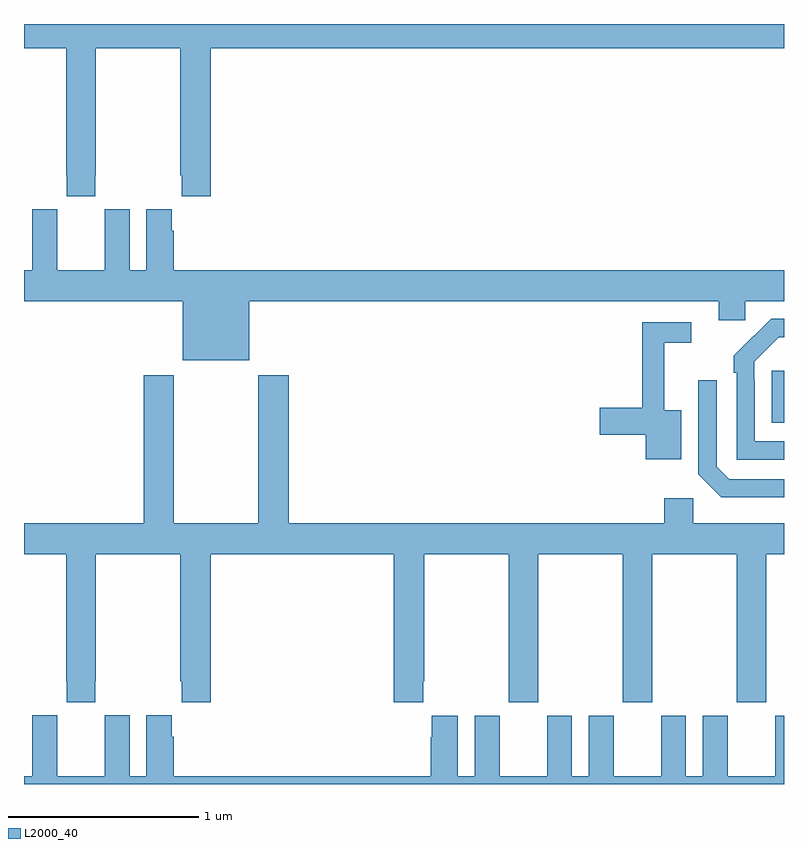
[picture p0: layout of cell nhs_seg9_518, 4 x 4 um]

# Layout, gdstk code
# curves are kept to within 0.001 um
import gdstk
lib = gdstk.Library(unit=1e-6, precision=1e-09)
def R(c, l, rs):  # rectangles x0, y0, x1, y1
    for r in rs: c.add(gdstk.rectangle(r[:2], r[2:], *l))
def P(c, l, *ps):  # polygons
    for p in ps: c.add(gdstk.Polygon(p, *l))
L2000_40 = (2000, 40)

nhs_seg9_518 = lib.new_cell('nhs_seg9_518')
R(nhs_seg9_518, L2000_40, [(138.935,1242.401,139,1242.676)])
P(nhs_seg9_518, L2000_40, [(139,1244.5),(135,1244.5),(135,1244.372),(135.223,1244.372),(135.223,1243.705),(135.225,1243.705),(135.225,1243.593),(135.375,1243.593),(135.375,1243.705),(135.378,1243.705),(135.378,1244.372),(135.823,1244.372),(135.823,1243.705),(135.829,1243.705),(135.829,1243.593),(135.983,1243.593),(135.983,1244.372),(139,1244.372)],
  [(136.186,1243.04),(138.656,1243.04),(138.656,1242.942),(138.795,1242.942),(138.795,1243.04),(139,1243.04),(139,1243.204),(135.788,1243.204),(135.788,1243.412),(135.778,1243.412),(135.778,1243.525),(135.644,1243.525),(135.644,1243.204),(135.556,1243.204),(135.556,1243.525),(135.426,1243.525),(135.426,1243.412),(135.425,1243.412),(135.425,1243.204),(135.175,1243.204),(135.175,1243.412),(135.174,1243.412),(135.174,1243.525),(135.044,1243.525),(135.044,1243.204),(135,1243.204),(135,1243.04),(135.836,1243.04),(135.836,1242.731),(136.186,1242.731)],
  [(139,1242.303),(138.846,1242.303),(138.846,1242.623),(138.843,1242.623),(138.843,1242.723),(138.972,1242.852),(139,1242.852),(139,1242.948),(138.932,1242.948),(138.735,1242.753),(138.735,1242.665),(138.75,1242.665),(138.75,1242.207),(139,1242.207)],
  [(138.46,1242.466),(138.371,1242.466),(138.371,1242.822),(138.511,1242.822),(138.511,1242.93),(138.253,1242.93),(138.253,1242.479),(138.03,1242.479),(138.03,1242.337),(138.272,1242.337),(138.272,1242.209),(138.46,1242.209)],
  [(136.946,1240.929),(137.101,1240.929),(137.101,1241.041),(137.106,1241.041),(137.106,1241.708),(137.551,1241.708),(137.551,1240.929),(137.706,1240.929),(137.706,1241.708),(138.151,1241.708),(138.151,1240.929),(138.306,1240.929),(138.306,1241.708),(138.751,1241.708),(138.751,1240.929),(138.906,1240.929),(138.906,1241.708),(139,1241.708),(139,1241.872),(138.522,1241.872),(138.522,1242.004),(138.371,1242.004),(138.371,1241.872),(136.394,1241.872),(136.394,1242.652),(136.234,1242.652),(136.234,1241.872),(135.789,1241.872),(135.789,1242.652),(135.629,1242.652),(135.629,1241.872),(135,1241.872),(135,1241.708),(135.223,1241.708),(135.223,1241.041),(135.225,1241.041),(135.225,1240.929),(135.375,1240.929),(135.375,1241.041),(135.378,1241.041),(135.378,1241.708),(135.823,1241.708),(135.823,1241.041),(135.829,1241.041),(135.829,1240.929),(135.983,1240.929),(135.983,1241.708),(136.946,1241.708)],
  [(139,1242.105),(138.711,1242.105),(138.645,1242.171),(138.645,1242.625),(138.549,1242.625),(138.549,1242.129),(138.67,1242.008),(139,1242.008)],
  [(139,1240.858),(138.953,1240.858),(138.953,1240.54),(138.703,1240.54),(138.703,1240.858),(138.572,1240.858),(138.572,1240.54),(138.484,1240.54),(138.484,1240.858),(138.353,1240.858),(138.353,1240.54),(138.103,1240.54),(138.103,1240.858),(137.972,1240.858),(137.972,1240.54),(137.884,1240.54),(137.884,1240.858),(137.753,1240.858),(137.753,1240.54),(137.503,1240.54),(137.503,1240.858),(137.372,1240.858),(137.372,1240.54),(137.284,1240.54),(137.284,1240.858),(137.147,1240.858),(137.147,1240.745),(137.141,1240.745),(137.141,1240.54),(135.788,1240.54),(135.788,1240.748),(135.778,1240.748),(135.778,1240.861),(135.644,1240.861),(135.644,1240.54),(135.556,1240.54),(135.556,1240.861),(135.426,1240.861),(135.426,1240.748),(135.425,1240.748),(135.425,1240.54),(135.175,1240.54),(135.175,1240.748),(135.174,1240.748),(135.174,1240.861),(135.044,1240.861),(135.044,1240.54),(135,1240.54),(135,1240.5),(139,1240.5)])

lib.write_gds('nhs_seg9_518.gds')
